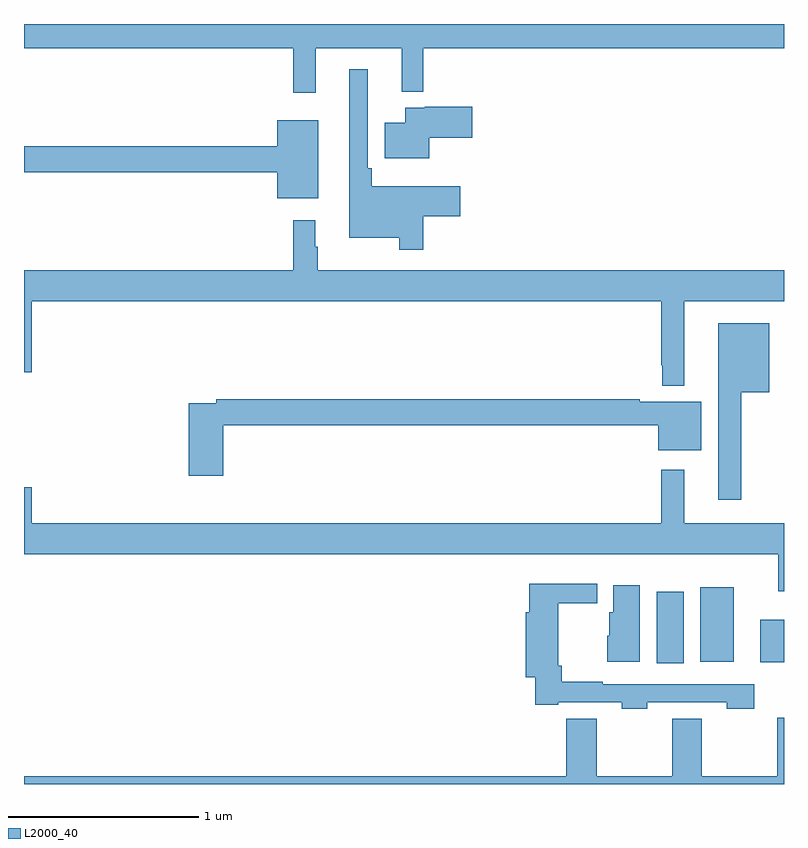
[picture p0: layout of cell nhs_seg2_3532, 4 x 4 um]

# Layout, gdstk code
import gdstk
lib = gdstk.Library(unit=1e-6, precision=1e-09)
def R(c, l, rs):  # rectangles x0, y0, x1, y1
    for r in rs: c.add(gdstk.rectangle(r[:2], r[2:], *l))
def P(c, l, *ps):  # polygons
    for p in ps: c.add(gdstk.Polygon(p, *l))
L2000_40 = (2000, 40)

nhs_seg2_3532 = lib.new_cell('nhs_seg2_3532')
R(nhs_seg2_3532, L2000_40, [(300.329,608.436,300.472,608.812), (300.875,608.441,301,608.665), (300.56,608.444,300.736,608.836)])
P(nhs_seg2_3532, L2000_40, [(298.535,611.672),(298.988,611.672),(298.988,611.444),(299.1,611.444),(299.1,611.672),(301,611.672),(301,611.8),(297,611.8),(297,611.672),(298.417,611.672),(298.417,611.439),(298.535,611.439)],
  [(299.102,610.787),(299.296,610.787),(299.296,610.945),(298.829,610.945),(298.829,611.041),(298.809,611.041),(298.809,611.563),(298.712,611.563),(298.712,610.676),(298.974,610.676),(298.974,610.611),(299.102,610.611)],
  [(299.134,611.201),(299.359,611.201),(299.359,611.364),(299.11,611.364),(299.11,611.359),(299.006,611.359),(299.006,611.281),(298.898,611.281),(298.898,611.093),(299.134,611.093)],
  [(298.549,611.293),(298.334,611.293),(298.334,611.156),(297,611.156),(297,611.02),(298.334,611.02),(298.334,610.883),(298.549,610.883)],
  [(300.475,610.34),(301,610.34),(301,610.504),(298.546,610.504),(298.546,610.628),(298.534,610.628),(298.534,610.768),(298.417,610.768),(298.417,610.504),(297,610.504),(297,609.966),(297.04,609.966),(297.04,610.34),(300.354,610.34),(300.354,610.003),(300.36,610.003),(300.36,609.896),(300.475,609.896)],
  [(300.775,609.863),(300.922,609.863),(300.922,610.225),(300.653,610.225),(300.653,609.297),(300.775,609.297)],
  [(298.049,609.688),(300.338,609.688),(300.338,609.557),(300.565,609.557),(300.565,609.811),(300.242,609.811),(300.242,609.824),(298.012,609.824),(298.012,609.804),(297.866,609.804),(297.866,609.423),(298.049,609.423)],
  [(300.475,609.454),(300.354,609.454),(300.354,609.172),(297.04,609.172),(297.04,609.361),(297,609.361),(297,609.008),(300.971,609.008),(300.971,608.814),(301,608.814),(301,609.172),(300.475,609.172)],
  [(300.279,608.229),(300.699,608.229),(300.699,608.197),(300.844,608.197),(300.844,608.325),(300.047,608.325),(300.047,608.338),(299.83,608.338),(299.83,608.422),(299.812,608.422),(299.812,608.752),(300.016,608.752),(300.016,608.854),(299.66,608.854),(299.66,608.703),(299.642,608.703),(299.642,608.363),(299.691,608.363),(299.691,608.217),(299.812,608.217),(299.812,608.229),(300.147,608.229),(300.147,608.197),(300.279,608.197)],
  [(300.241,608.845),(300.101,608.845),(300.101,608.703),(300.08,608.703),(300.08,608.58),(300.071,608.58),(300.071,608.444),(300.241,608.444)],
  [(301,608.149),(300.964,608.149),(300.964,607.84),(300.566,607.84),(300.566,608.144),(300.412,608.144),(300.412,607.84),(300.014,607.84),(300.014,608.144),(299.855,608.144),(299.855,607.84),(297,607.84),(297,607.8),(301,607.8)])

lib.write_gds('nhs_seg2_3532.gds')
